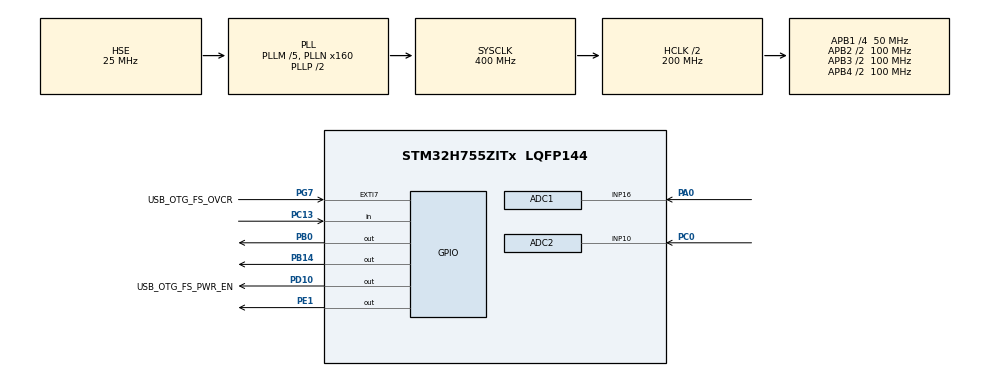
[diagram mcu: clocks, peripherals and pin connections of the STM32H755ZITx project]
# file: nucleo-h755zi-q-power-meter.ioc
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ADC1.Channel-0\#ChannelRegularConversion=ADC_CHANNEL_16
ADC1.ClockPrescaler=ADC_CLOCK_ASYNC_DIV4
ADC1.DMAAccessModeView=ENABLE
ADC1.ExternalTrigConv=ADC_EXTERNALTRIG_T6_TRGO
ADC1.Mode=ADC_DUALMODE_REGSIMULT
ADC1.NbrOfConversionFlag=1
ADC1.OffsetNumber-0\#ChannelRegularConversion=ADC_OFFSET_NONE
ADC1.OffsetSignedSaturation-0\#ChannelRegularConversion=DISABLE
ADC1.Rank-0\#ChannelRegularConversion=1
ADC1.SamplingTime-0\#ChannelRegularConversion=ADC_SAMPLETIME_1CYCLE_5
ADC1.master=1
ADC2.Channel-0\#ChannelRegularConversion=ADC_CHANNEL_10
ADC2.ClockPrescaler=ADC_CLOCK_ASYNC_DIV4
ADC2.DMAAccessModeView=ENABLE
ADC2.Mode=ADC_DUALMODE_REGSIMULT
ADC2.NbrOfConversionFlag=1
ADC2.OffsetNumber-0\#ChannelRegularConversion=ADC_OFFSET_NONE
ADC2.OffsetSignedSaturation-0\#ChannelRegularConversion=DISABLE
ADC2.Rank-0\#ChannelRegularConversion=1
ADC2.SamplingTime-0\#ChannelRegularConversion=ADC_SAMPLETIME_1CYCLE_5
CortexM4.IPs=FATFS_M4\:I,FREERTOS_M4\:I,IWDG2\:I,RCC,WWDG2\:I,DMA,BDMA,MDMA,NVIC2\:I,USART3,DEBUG,PDM2PCM_M4\:I,PWR,RESMGR_UTILITY,SYS_M4\:I,USB_DEVICE_M4\:I,USB_HOST_M4\:I,CORTEX_M4\:I,GPIO,OPENAMP_M4\:I,VREFBUF,NUCLEO-H755ZI-Q
CortexM7.IPs=FATFS_M7\:I,FREERTOS_M7\:I,IWDG1\:I,RCC\:I,WWDG1\:I,DMA\:I,BDMA\:I,MDMA\:I,NVIC1\:I,USART3\:I,USB_OTG_FS\:I,SYS\:I,CORTEX_M7\:I,DEBUG\:I,PDM2PCM_M7\:I,PWR\:I,RESMGR_UTILITY\:I,USB_DEVICE_M7\:I,USB_HOST_M7\:I,GPIO\:I,OPENAMP_M7\:I,VREFBUF\:I,NUCLEO-H755ZI-Q\:I,MEMORYMAP\:I,ADC1\:I,ADC2\:I,TIM6\:I
Dma.ADC1.0.Direction=DMA_PERIPH_TO_MEMORY
Dma.ADC1.0.EventEnable=DISABLE
Dma.ADC1.0.FIFOMode=DMA_FIFOMODE_DISABLE
Dma.ADC1.0.Instance=DMA1_Stream0
Dma.ADC1.0.MemDataAlignment=DMA_MDATAALIGN_WORD
Dma.ADC1.0.MemInc=DMA_MINC_ENABLE
Dma.ADC1.0.Mode=DMA_CIRCULAR
Dma.ADC1.0.PeriphDataAlignment=DMA_PDATAALIGN_WORD
Dma.ADC1.0.PeriphInc=DMA_PINC_DISABLE
Dma.ADC1.0.Polarity=HAL_DMAMUX_REQ_GEN_RISING
Dma.ADC1.0.Priority=DMA_PRIORITY_VERY_HIGH
Dma.ADC1.0.RequestNumber=1
Dma.ADC1.0.SignalID=NONE
Dma.ADC1.0.SyncEnable=DISABLE
Dma.ADC1.0.SyncPolarity=HAL_DMAMUX_SYNC_NO_EVENT
Dma.ADC1.0.SyncRequestNumber=1
Dma.ADC1.0.SyncSignalID=NONE
Dma.Request0=ADC1
Mcu.Family=STM32H7
Mcu.Name=STM32H755ZITx
Mcu.Package=LQFP144
NUCLEO-H755ZI-Q.LD1=true
NUCLEO-H755ZI-Q.LD2=true
NUCLEO-H755ZI-Q.LD3=true
NUCLEO-H755ZI-Q.VCP=true
NVIC1.ADC_IRQn=true\:1\:0\:true\:false\:true\:true\:true\:true
NVIC1.DMA1_Stream0_IRQn=true\:0\:0\:false\:false\:true\:false\:true\:true
NVIC1.PriorityGroup=NVIC_PRIORITYGROUP_4
NVIC2.PriorityGroup=NVIC_PRIORITYGROUP_4
PA0.Mode=IN16-Single-Ended
PA0.PinAttribute=CortexM7
PA0.Signal=ADC1_INP16
PA1.PinAttribute=CortexM4
PA1.Signal=ETH_REF_CLK
PA11.PinAttribute=CortexM7
PA11.Signal=USB_OTG_FS_DM
PA12.PinAttribute=CortexM7
PA12.Signal=USB_OTG_FS_DP
PA2.PinAttribute=CortexM4
PA2.Signal=ETH_MDIO
PA7.PinAttribute=CortexM4
PA7.Signal=ETH_CRS_DV
PA8.PinAttribute=CortexM7
PA8.Signal=USB_OTG_FS_SOF
PA9.PinAttribute=CortexM7
PA9.Signal=USB_OTG_FS_VBUS
PB0.Signal=GPIO_Output
PB13.PinAttribute=CortexM4
PB13.Signal=ETH_TXD1
PB14.Signal=GPIO_Output
PC0.PinAttribute=CortexM7
PC0.Signal=ADCx_INP10
PC1.PinAttribute=CortexM4
PC1.Signal=ETH_MDC
PC13.PinAttribute=Free
PC13.Signal=GPIO_Input
PC14-OSC32_IN\ (OSC32_IN).PinAttribute=Free
PC14-OSC32_IN\ (OSC32_IN).Signal=RCC_OSC32_IN
PC15-OSC32_OUT\ (OSC32_OUT).PinAttribute=Free
PC15-OSC32_OUT\ (OSC32_OUT).Signal=RCC_OSC32_OUT
PC4.PinAttribute=CortexM4
PC4.Signal=ETH_RXD0
PC5.PinAttribute=CortexM4
PC5.Signal=ETH_RXD1
PD10.GPIO_Label=USB_OTG_FS_PWR_EN
PD10.PinAttribute=Free
PD10.Signal=GPIO_Output
PD8.Signal=USART3_TX
PD9.Signal=USART3_RX
PE1.Signal=GPIO_Output
PG11.PinAttribute=CortexM4
PG11.Signal=ETH_TX_EN
PG13.PinAttribute=CortexM4
PG13.Signal=ETH_TXD0
PG7.GPIO_Label=USB_OTG_FS_OVCR
PG7.PinAttribute=Free
PG7.Signal=GPXTI7
PH0-OSC_IN\ (PH0).Mode=HSE-External-Oscillator
PH0-OSC_IN\ (PH0).PinAttribute=Free
PH0-OSC_IN\ (PH0).Signal=RCC_OSC_IN
PH1-OSC_OUT\ (PH1).Mode=HSE-External-Oscillator
PH1-OSC_OUT\ (PH1).PinAttribute=Free
PH1-OSC_OUT\ (PH1).Signal=RCC_OSC_OUT
ProjectManager.HeapSize=M4-0x200,M7-0x200
ProjectManager.StackSize=M4-0x400,M7-0x400
ProjectManager.TargetToolchain=STM32CubeIDE
RCC.ADCCLockSelection=RCC_ADCCLKSOURCE_CLKP
RCC.ADCFreq_Value=64000000
RCC.APB1Freq_Value=50000000
RCC.APB2Freq_Value=100000000
RCC.APB3Freq_Value=100000000
RCC.APB4Freq_Value=100000000
RCC.CortexFreq_Value=200000000
RCC.D1CPRE=RCC_SYSCLK_DIV2
RCC.D1PPRE=RCC_APB3_DIV2
RCC.D2PPRE1=RCC_APB1_DIV4
RCC.D2PPRE2=RCC_APB2_DIV2
RCC.D3PPRE=RCC_APB4_DIV2
RCC.DIVM1=5
RCC.DIVN1=160
RCC.DIVQ1=5
RCC.HCLKFreq_Value=200000000
RCC.PLL2FRACN=0
RCC.PLL3FRACN=0
RCC.PLLFRACN=0
RCC.PLLSourceVirtual=RCC_PLLSOURCE_HSE
RCC.SYSCLKFreq_VALUE=400000000
RCC.SYSCLKSource=RCC_SYSCLKSOURCE_PLLCLK
RCC.SupplySource=PWR_DIRECT_SMPS_SUPPLY
RCC.USBFreq_Value=160000000
SH.ADCx_INP10.0=ADC2_INP10,IN10-Single-Ended
TIM6.AutoReloadPreload=TIM_AUTORELOAD_PRELOAD_ENABLE
TIM6.Period=199
TIM6.Prescaler=49
TIM6.TIM_MasterOutputTrigger=TIM_TRGO_UPDATE
VP_MEMORYMAP_VS_MEMORYMAP.Mode=CurAppReg
VP_NUCLEO-H755ZI-Q_VS_BSP_COMMON.Mode=COMMON
VP_SYS_M4_VS_Systick.Mode=SysTick
VP_TIM6_VS_ClockSourceINT.Mode=Enable_Timer
board=NUCLEO-H755ZI-Q

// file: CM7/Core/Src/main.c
/* USER CODE BEGIN Header */
/**
 ******************************************************************************
 * @file           : main.c
 * @brief          : Main program body
 ******************************************************************************
 * @attention
 *
 * Copyright (c) 2026 STMicroelectronics.
 * All rights reserved.
 *
 * This software is licensed under terms that can be found in the LICENSE file
 * in the root directory of this software component.
 * If no LICENSE file comes with this software, it is provided AS-IS.
 *
 ******************************************************************************
 */
/* USER CODE END Header */
#include "main.h"
#include "adc.h"
#include "dma.h"
#include "tim.h"
#include "gpio.h"

/* USER CODE BEGIN Includes */
#include <stdio.h>
#include <string.h>
/* USER CODE END Includes */

/* USER CODE BEGIN PD */

/* DUAL_CORE_BOOT_SYNC_SEQUENCE: Define for dual core boot synchronization    */
/*                             demonstration code based on hardware semaphore */
/* This define is present in both CM7/CM4 projects                            */
/* To comment when developping/debugging on a single core                     */
// #define DUAL_CORE_BOOT_SYNC_SEQUENCE  // DISABLED - M4 not used

#if defined(DUAL_CORE_BOOT_SYNC_SEQUENCE)
#ifndef HSEM_ID_0
#define HSEM_ID_0 (0U) /* HW semaphore 0*/
#endif
#endif /* DUAL_CORE_BOOT_SYNC_SEQUENCE */

/* USER CODE END PD */

COM_InitTypeDef BspCOMInit;

/* USER CODE BEGIN PV */
#define BUFFER_SIZE 2000      // 200ms at 10kHz (IEC 61000-4-7 compliant)
#define HALF_BUFFER_SIZE 1000 // 100ms per packet

/**
 * UART Packet Structure (4010 bytes total)
 *
 * All fields are uint16_t for natural 2-byte alignment.
 * NO __attribute__((packed)) needed - compiler adds no padding because
 * all fields are same size (uint16_t = 2 bytes).
 *
 * Memory layout is naturally compact:
 * - Each uint16_t at even address (0, 2, 4, 6, ...)
 * - No gaps between fields
 * - Total size: 2+2+2+2000+2000+2+2 = 4010 bytes
 */
typedef struct {
  uint16_t start_marker;                   // 0xAA55
  uint16_t sequence;                       // Packet counter (0-65535, wraps)
  uint16_t count;                          // Samples per channel (always 1000)
  uint16_t voltage_data[HALF_BUFFER_SIZE]; // ADC1 voltage samples
  uint16_t current_data[HALF_BUFFER_SIZE]; // ADC2 current samples
  uint16_t checksum;                       // CRC16-MODBUS
  uint16_t end_marker;                     // 0x55AA
} PacketData;

uint32_t adc_buffer[BUFFER_SIZE]; // Dual ADC: [Current(31:16)|Voltage(15:0)]
volatile uint8_t buffer_half_ready = 0;
volatile uint8_t uart_tx_busy = 0;

static uint16_t packet_sequence = 0;
/**
 * Packet buffer with 4-byte alignment for DMA compatibility.
 *
 * __attribute__((aligned(4))) ensures struct starts at address
 * that is multiple of 4 (required by STM32 DMA controller).
 *
 * Applied to VARIABLE, not struct type definition, because:
 * - Struct fields are naturally aligned (all uint16_t)
 * - Only need to align the starting address for DMA
 */
static PacketData tx_packet __attribute__((aligned(4)));

/* USER CODE END PV */

void SystemClock_Config(void);
void PeriphCommonClock_Config(void);

/* USER CODE BEGIN 0 */

void transmit_buffer_uart(uint32_t *data, uint16_t size) {
  if (uart_tx_busy) {
    return;
  }

  tx_packet.start_marker = 0xAA55;
  tx_packet.sequence = packet_sequence++;
  tx_packet.count = size;

  // H755: Unpack dual ADC data - note H755 packs as
  // [Current(31:16)|Voltage(15:0)]
  for (uint16_t i = 0; i < size; i++) {
    tx_packet.voltage_data[i] = (uint16_t)(data[i] & 0xFFFF); // Lower 16 bits
    tx_packet.current_data[i] =
        (uint16_t)((data[i] >> 16) & 0xFFFF); // Upper 16 bits
  }

  // Calculate CRC16-MODBUS
  uint8_t *crc_start = (uint8_t *)&tx_packet.sequence;
  uint16_t crc_length = sizeof(tx_packet.sequence) + sizeof(tx_packet.count) +
                        sizeof(tx_packet.voltage_data) +
                        sizeof(tx_packet.current_data);
  uint16_t crc = 0xFFFF;
  for (uint16_t i = 0; i < crc_length; i++) {
    crc ^= crc_start[i];
    for (uint8_t j = 0; j < 8; j++) {
      if (crc & 0x0001) {
        crc = (crc >> 1) ^ 0xA001;
      } else {
        crc = crc >> 1;
      }
    }
  }

  tx_packet.checksum = crc;
  tx_packet.end_marker = 0x55AA;

  uart_tx_busy = 1;
  __DSB();
  HAL_StatusTypeDef status =
      HAL_UART_Transmit_DMA(&huart2, (uint8_t *)&tx_packet, sizeof(tx_packet));

  if (status != HAL_OK) {
    uart_tx_busy = 0;
    // Error - turn on LED1 (green on H755)
    HAL_GPIO_WritePin(GPIOB, GPIO_PIN_0, GPIO_PIN_SET);
  } else {
    // Success - toggle LED to show activity
    HAL_GPIO_TogglePin(GPIOB, GPIO_PIN_0);
  }
}

/* USER CODE END 0 */

int main(void)
{

/* USER CODE BEGIN Boot_Mode_Sequence_0 */
#if defined(DUAL_CORE_BOOT_SYNC_SEQUENCE)
  int32_t timeout;
#endif /* DUAL_CORE_BOOT_SYNC_SEQUENCE */
/* USER CODE END Boot_Mode_Sequence_0 */

/* USER CODE BEGIN Boot_Mode_Sequence_1 */
#if defined(DUAL_CORE_BOOT_SYNC_SEQUENCE)
  /* Wait until CPU2 boots and enters in stop mode or timeout*/
  timeout = 0xFFFF;
  while ((__HAL_RCC_GET_FLAG(RCC_FLAG_D2CKRDY) != RESET) && (timeout-- > 0))
    ;
  if (timeout < 0) {
    Error_Handler();
  }
#endif /* DUAL_CORE_BOOT_SYNC_SEQUENCE */
/* USER CODE END Boot_Mode_Sequence_1 */
  /* MCU Configuration--------------------------------------------------------*/

  /* Reset of all peripherals, Initializes the Flash interface and the Systick. */
  HAL_Init();

  /* Configure the system clock */
  SystemClock_Config();

  /* Configure the peripherals common clocks */
  PeriphCommonClock_Config();
/* USER CODE BEGIN Boot_Mode_Sequence_2 */
#if defined(DUAL_CORE_BOOT_SYNC_SEQUENCE)
  /* When system initialization is finished, Cortex-M7 will release Cortex-M4 by
  means of HSEM notification */
  /*HW semaphore Clock enable*/
  __HAL_RCC_HSEM_CLK_ENABLE();
  /*Take HSEM */
  HAL_HSEM_FastTake(HSEM_ID_0);
  /*Release HSEM in order to notify the CPU2(CM4)*/
  HAL_HSEM_Release(HSEM_ID_0, 0);
  /* wait until CPU2 wakes up from stop mode */
  timeout = 0xFFFF;
  while ((__HAL_RCC_GET_FLAG(RCC_FLAG_D2CKRDY) == RESET) && (timeout-- > 0))
    ;
  if (timeout < 0) {
    Error_Handler();
  }
#endif /* DUAL_CORE_BOOT_SYNC_SEQUENCE */
/* USER CODE END Boot_Mode_Sequence_2 */

  /* Initialize all configured peripherals */
  MX_DMA_Init();
  MX_GPIO_Init();
  MX_ADC1_Init();
  MX_ADC2_Init();
  MX_TIM6_Init();
  /* USER CODE BEGIN 2 */

  // Early LED test - blink 3 times to show boot
  for (int i = 0; i < 3; i++) {
    HAL_GPIO_WritePin(GPIOB, GPIO_PIN_0, GPIO_PIN_SET);
    HAL_Delay(100);
    HAL_GPIO_WritePin(GPIOB, GPIO_PIN_0, GPIO_PIN_RESET);
    HAL_Delay(100);
  }

  // ADC calibration (H755 uses differential/single-ended selection)
  HAL_ADCEx_Calibration_Start(&hadc1, ADC_CALIB_OFFSET, ADC_SINGLE_ENDED);
  HAL_ADCEx_Calibration_Start(&hadc2, ADC_CALIB_OFFSET, ADC_SINGLE_ENDED);

  // Start timer trigger
  HAL_TIM_Base_Start(&htim6);

  // Start dual ADC with DMA (this automatically enables the ADCs)
  if (HAL_ADCEx_MultiModeStart_DMA(&hadc1, (uint32_t *)adc_buffer,
                                   BUFFER_SIZE) != HAL_OK) {
    Error_Handler();
  }

  // UART test - send "TEST\n" to verify connection
  uint8_t test_msg[] = "H755 UART TEST\r\n";
  HAL_UART_Transmit(&huart2, test_msg, sizeof(test_msg) - 1, 1000);

  /* USER CODE END 2 */

  /* Initialize leds */
  BSP_LED_Init(LED_GREEN);
  BSP_LED_Init(LED_YELLOW);
  BSP_LED_Init(LED_RED);

  /* Initialize COM1 port (115200, 8 bits (7-bit data + 1 stop bit), no parity */
  BspCOMInit.BaudRate   = 115200;
  BspCOMInit.WordLength = COM_WORDLENGTH_8B;
  BspCOMInit.StopBits   = COM_STOPBITS_1;
  BspCOMInit.Parity     = COM_PARITY_NONE;
  BspCOMInit.HwFlowCtl  = COM_HWCONTROL_NONE;
  if (BSP_COM_Init(COM1, &BspCOMInit) != BSP_ERROR_NONE)
  {
    Error_Handler();
  }

  /* Infinite loop */
  while (1) {

    /* USER CODE BEGIN 3 */
    static uint32_t last_tx_time = 0;
    static uint32_t last_heartbeat = 0;
    uint32_t current_time = HAL_GetTick();

    // Heartbeat - toggle LED every 500ms to show code is running
    if (current_time - last_heartbeat > 500) {
      HAL_GPIO_TogglePin(GPIOB, GPIO_PIN_0);
      last_heartbeat = current_time;
    }

    // DEBUG: Show buffer_half_ready status
    static uint8_t last_ready_state = 0;
    if (buffer_half_ready != last_ready_state) {
      last_ready_state = buffer_half_ready;
      // Quick double-blink when buffer ready changes
      for (int i = 0; i < 2; i++) {
        HAL_GPIO_TogglePin(GPIOB, GPIO_PIN_0);
        HAL_Delay(50);
      }
    }

    // Check if UART completed transmission
    if (uart_tx_busy && huart2.gState == HAL_UART_STATE_READY) {
      uart_tx_busy = 0;
    }

    // Timeout protection (150ms)
    if (uart_tx_busy && (current_time - last_tx_time > 150)) {
      uart_tx_busy = 0;
      HAL_UART_Abort(&huart2);
      HAL_GPIO_WritePin(GPIOB, GPIO_PIN_0, GPIO_PIN_SET); // Error LED
    }

    // Transmit first half buffer
    if (buffer_half_ready == 1 && !uart_tx_busy) {
      transmit_buffer_uart(&adc_buffer[0], HALF_BUFFER_SIZE);
      buffer_half_ready = 0;
      last_tx_time = current_time;
    }
    // Transmit second half buffer
    else if (buffer_half_ready == 2 && !uart_tx_busy) {
      transmit_buffer_uart(&adc_buffer[HALF_BUFFER_SIZE], HALF_BUFFER_SIZE);
      buffer_half_ready = 0;
      last_tx_time = current_time;
    }
  }
  /* USER CODE END 3 */
}

void SystemClock_Config(void)
{
  RCC_OscInitTypeDef RCC_OscInitStruct = {0};
  RCC_ClkInitTypeDef RCC_ClkInitStruct = {0};

  /** Supply configuration update enable
  */
  HAL_PWREx_ConfigSupply(PWR_DIRECT_SMPS_SUPPLY);

  /** Configure the main internal regulator output voltage
  */
  __HAL_PWR_VOLTAGESCALING_CONFIG(PWR_REGULATOR_VOLTAGE_SCALE3);

  while(!__HAL_PWR_GET_FLAG(PWR_FLAG_VOSRDY)) {}

  /** Initializes the RCC Oscillators according to the specified parameters
  * in the RCC_OscInitTypeDef structure.
  */
  RCC_OscInitStruct.OscillatorType = RCC_OSCILLATORTYPE_HSI|RCC_OSCILLATORTYPE_HSE;
  RCC_OscInitStruct.HSEState = RCC_HSE_ON;
  RCC_OscInitStruct.HSIState = RCC_HSI_DIV1;
  RCC_OscInitStruct.HSICalibrationValue = RCC_HSICALIBRATION_DEFAULT;
  RCC_OscInitStruct.PLL.PLLState = RCC_PLL_ON;
  RCC_OscInitStruct.PLL.PLLSource = RCC_PLLSOURCE_HSE;
  RCC_OscInitStruct.PLL.PLLM = 5;
  RCC_OscInitStruct.PLL.PLLN = 160;
  RCC_OscInitStruct.PLL.PLLP = 2;
  RCC_OscInitStruct.PLL.PLLQ = 5;
  RCC_OscInitStruct.PLL.PLLR = 2;
  RCC_OscInitStruct.PLL.PLLRGE = RCC_PLL1VCIRANGE_2;
  RCC_OscInitStruct.PLL.PLLVCOSEL = RCC_PLL1VCOWIDE;
  RCC_OscInitStruct.PLL.PLLFRACN = 0;
  if (HAL_RCC_OscConfig(&RCC_OscInitStruct) != HAL_OK)
  {
    Error_Handler();
  }

  /** Initializes the CPU, AHB and APB buses clocks
  */
  RCC_ClkInitStruct.ClockType = RCC_CLOCKTYPE_HCLK|RCC_CLOCKTYPE_SYSCLK
                              |RCC_CLOCKTYPE_PCLK1|RCC_CLOCKTYPE_PCLK2
                              |RCC_CLOCKTYPE_D3PCLK1|RCC_CLOCKTYPE_D1PCLK1;
  RCC_ClkInitStruct.SYSCLKSource = RCC_SYSCLKSOURCE_PLLCLK;
  RCC_ClkInitStruct.SYSCLKDivider = RCC_SYSCLK_DIV2;
  RCC_ClkInitStruct.AHBCLKDivider = RCC_HCLK_DIV1;
  RCC_ClkInitStruct.APB3CLKDivider = RCC_APB3_DIV2;
  RCC_ClkInitStruct.APB1CLKDivider = RCC_APB1_DIV4;
  RCC_ClkInitStruct.APB2CLKDivider = RCC_APB2_DIV2;
  RCC_ClkInitStruct.APB4CLKDivider = RCC_APB4_DIV2;

  if (HAL_RCC_ClockConfig(&RCC_ClkInitStruct, FLASH_LATENCY_4) != HAL_OK)
  {
    Error_Handler();
  }
}

void PeriphCommonClock_Config(void)
{
  RCC_PeriphCLKInitTypeDef PeriphClkInitStruct = {0};

  /** Initializes the peripherals clock
  */
  PeriphClkInitStruct.PeriphClockSelection = RCC_PERIPHCLK_CKPER;
  PeriphClkInitStruct.CkperClockSelection = RCC_CLKPSOURCE_HSI;
  if (HAL_RCCEx_PeriphCLKConfig(&PeriphClkInitStruct) != HAL_OK)
  {
    Error_Handler();
  }
}

void Error_Handler(void)
{
  __disable_irq();
  while (1) {
  }
}
#ifdef USE_FULL_ASSERT
/**
  * @brief  Reports the name of the source file and the source line number
  *         where the assert_param error has occurred.
  * @param  file: pointer to the source file name
  * @param  line: assert_param error line source number
  * @retval None
  */
void assert_failed(uint8_t *file, uint32_t line)
{
  /* USER CODE BEGIN 6 */
  /* User can add his own implementation to report the file name and line
     number, ex: printf("Wrong parameters value: file %s on line %d\r\n", file,
     line) */
  /* USER CODE END 6 */
}
#endif /* USE_FULL_ASSERT */
